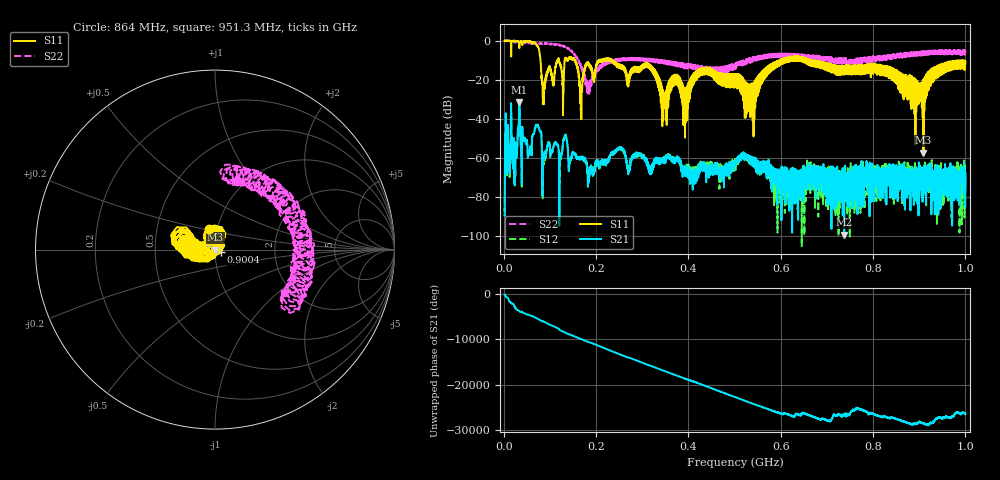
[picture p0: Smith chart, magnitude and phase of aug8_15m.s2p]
!Keysight Technologies N9923A: A.12.45
!Date: Friday, 08 August 2025 17:38:04
!Timezone: (UTC+08:00) Kuala Lumpur, Singapore
!Model: N9923A
!Serial: MY61181427
!GPS Latitude:
!GPS Longitude:
!GPS TimeStamp: 0001-01-01 00:00:00Z
!GPS Seconds Since Last Read: 0
!CHECKSUM:1327263846
!Correction: S11(ON U)S21(ON U)S12(ON U)S22(ON U)
!S2P File: Measurements:S11,S21,S12,S22:
# Hz S DB R 50
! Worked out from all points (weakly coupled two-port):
!   4001 points, 2 MHz to 1 GHz, reference 50 ohm
!   highest |S21| = -31.61 dB at 33.94 MHz (marker M1); lowest = -99.2 dB at 737.5 MHz (marker M2)
!   lowest |S11| = -57.2 dB at 909.2 MHz (marker M3), VSWR 1.00, Z = 50.1 + j0.0465 ohm
!   |S11| at or under -10 dB: 155.1 MHz to 205.9 MHz (50.88 MHz wide, 28.2 % of centre); 234.5 MHz to 597.8 MHz (363.3 MHz wide, 87.3 % of centre); 667.2 MHz to end of sweep (the widest 3 of 69)
!   |S22| runs from -27.7 to 0.0 dB; largest |S21 - S12| = 0.0011
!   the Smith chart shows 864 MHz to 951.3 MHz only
!   S11 on the Smith chart (normalised r, x): 864 MHz: 0.91, +0.21; 900.4 MHz: 1.07, -0.03; 951.3 MHz: 0.75, +0.06
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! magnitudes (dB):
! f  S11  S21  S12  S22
! 2 MHz  -0.1  -89.3  -85.7  0.0
! 33.94 MHz  -3.9  -31.6  -31.5  -1.1
! 55.89 MHz  -0.3  -56.9  -56.8  -1.1
! 72.11 MHz  -2.3  -43.2  -43.0  -1.4
! 86.83 MHz  -32.5  -59.4  -61.9  -1.7
! 133 MHz  -9.3  -48.1  -47.7  -3.0
! 145.2 MHz  -8.5  -60.2  -60.4  -5.3
! 168.4 MHz  -35.8  -59.7  -60.0  -13.7
! 183.6 MHz  -11.5  -71.0  -70.9  -27.7
! 222.6 MHz  -9.1  -63.1  -62.1  -11.1
! 334.8 MHz  -19.4  -62.3  -61.0  -11.3
! 348.3 MHz  -33.7  -60.3  -59.6  -11.8
! 501 MHz  -17.0  -62.7  -64.0  -14.6
! 536.7 MHz  -23.0  -60.5  -60.5  -10.3
! 667.4 MHz  -10.4  -66.5  -64.2  -8.2
! 737.5 MHz  -16.9  -99.2  -77.1  -10.2
! 833.8 MHz  -18.0  -65.0  -72.7  -8.2
! 864 MHz  -18.5  -66.1  -73.0  -7.9
! 900.4 MHz  -28.5  -70.4  -68.0  -6.4
! 909.2 MHz  -57.2  -65.3  -78.3  -7.5
! 951.3 MHz  -16.7  -71.6  -84.4  -6.9
! 1 GHz  -11.8  -85.0  -74.9  -6.1
